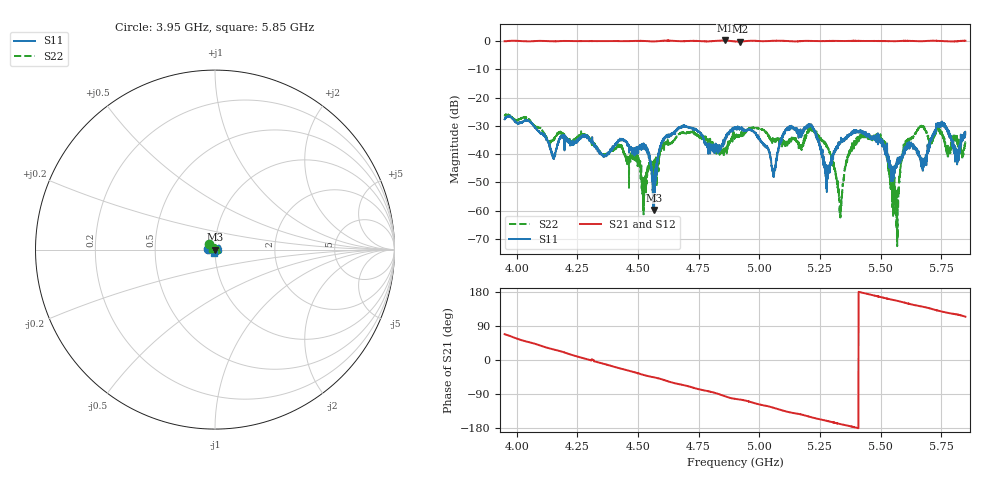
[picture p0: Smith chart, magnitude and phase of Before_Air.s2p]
# GHZ S RI R 50.000000000000
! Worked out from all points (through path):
!   4501 points, 3.95 GHz to 5.85 GHz, reference 50 ohm
!   highest |S21| = 0.17 dB at 4.858 GHz (marker M1); lowest = -0.2 dB at 4.92 GHz (marker M2)
!   group delay of S21, straight-line fit = 452 ps
!   lowest |S11| = -59.7 dB at 4.566 GHz (marker M3), VSWR 1.00, Z = 49.9 - j0.0334 ohm
!   |S11| at or under -10 dB: start of sweep to end of sweep
!   |S22| runs from -72.5 to -26.0 dB; largest |S21 - S12| = 0.042
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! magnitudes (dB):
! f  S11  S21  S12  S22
! 3.95 GHz  -27.7  -0.1  -0.2  -26.7
! 4.151 GHz  -40.8  -0.1  -0.1  -35.0
! 4.267 GHz  -34.0  -0.1  -0.1  -33.5
! 4.525 GHz  -37.6  0.0  0.0  -49.8
! 4.566 GHz  -59.7  -0.2  -0.2  -44.9
! 4.584 GHz  -40.1  -0.1  -0.1  -41.5
! 4.683 GHz  -30.4  -0.1  -0.1  -32.5
! 4.858 GHz  -34.8  0.2  0.2  -38.0
! 4.9 GHz  -31.2  -0.2  -0.1  -33.9
! 4.92 GHz  -30.6  -0.2  -0.2  -33.6
! 5.059 GHz  -48.0  0.0  0.0  -35.3
! 5.11 GHz  -31.4  0.0  0.0  -36.6
! 5.217 GHz  -30.3  0.0  0.0  -31.4
! 5.282 GHz  -44.3  -0.1  0.0  -37.6
! 5.333 GHz  -36.1  0.0  0.0  -61.8
! 5.416 GHz  -31.9  0.0  0.0  -34.2
! 5.534 GHz  -42.9  -0.1  0.0  -43.8
! 5.565 GHz  -43.3  -0.1  -0.1  -56.0
! 5.6 GHz  -38.9  0.0  0.0  -36.8
! 5.663 GHz  -41.3  -0.1  -0.1  -30.3
! 5.738 GHz  -29.3  0.0  0.0  -30.5
! 5.85 GHz  -33.1  0.1  0.1  -35.8
